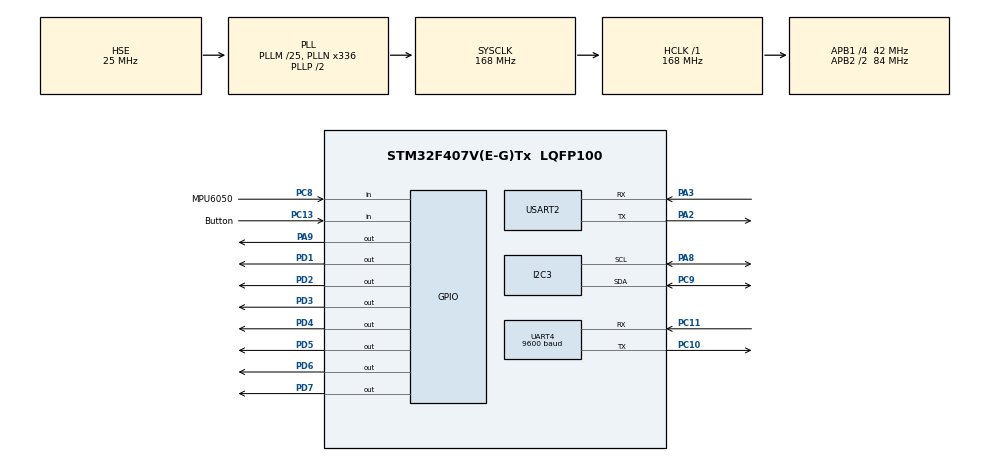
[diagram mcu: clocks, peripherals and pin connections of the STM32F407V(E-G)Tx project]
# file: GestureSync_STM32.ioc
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Dma.Request0=UART4_RX
Dma.Request1=UART4_TX
Dma.UART4_RX.0.Direction=DMA_PERIPH_TO_MEMORY
Dma.UART4_RX.0.FIFOMode=DMA_FIFOMODE_DISABLE
Dma.UART4_RX.0.Instance=DMA1_Stream2
Dma.UART4_RX.0.MemDataAlignment=DMA_MDATAALIGN_BYTE
Dma.UART4_RX.0.MemInc=DMA_MINC_ENABLE
Dma.UART4_RX.0.Mode=DMA_NORMAL
Dma.UART4_RX.0.PeriphDataAlignment=DMA_PDATAALIGN_BYTE
Dma.UART4_RX.0.PeriphInc=DMA_PINC_DISABLE
Dma.UART4_RX.0.Priority=DMA_PRIORITY_LOW
Dma.UART4_TX.1.Direction=DMA_MEMORY_TO_PERIPH
Dma.UART4_TX.1.FIFOMode=DMA_FIFOMODE_DISABLE
Dma.UART4_TX.1.Instance=DMA1_Stream4
Dma.UART4_TX.1.MemDataAlignment=DMA_MDATAALIGN_BYTE
Dma.UART4_TX.1.MemInc=DMA_MINC_ENABLE
Dma.UART4_TX.1.Mode=DMA_NORMAL
Dma.UART4_TX.1.PeriphDataAlignment=DMA_PDATAALIGN_BYTE
Dma.UART4_TX.1.PeriphInc=DMA_PINC_DISABLE
Dma.UART4_TX.1.Priority=DMA_PRIORITY_LOW
FREERTOS.Tasks01=MPU6050Task,2,128,StartMPU6050Task,Default,NULL,Dynamic,NULL,NULL;LcdTask,-3,128,StartLcdTask,Default,NULL,Dynamic,NULL,NULL;SwitchTask,1,128,StartSwitchTask,Default,NULL,Dynamic,NULL,NULL;TrafficTask,-3,128,StartTrafficTask,Default,NULL,Dynamic,NULL,NULL;ReceiveTask,0,128,StartRecieveTask,Default,NULL,Dynamic,NULL,NULL;IWDG_Monitor,3,128,StartIWDG_Monitor,Default,NULL,Dynamic,NULL,NULL
FREERTOS.configMAX_PRIORITIES=7
FREERTOS.configUSE_NEWLIB_REENTRANT=1
I2C3.I2C_Mode=I2C_Fast
IWDG.Prescaler=IWDG_PRESCALER_64
IWDG.Reload=3000-1
Mcu.Family=STM32F4
Mcu.Name=STM32F407V(E-G)Tx
Mcu.Package=LQFP100
NVIC.DMA1_Stream2_IRQn=true\:5\:0\:false\:false\:true\:true\:false\:true\:true
NVIC.DMA1_Stream4_IRQn=true\:5\:0\:false\:false\:true\:true\:false\:true\:true
NVIC.PriorityGroup=NVIC_PRIORITYGROUP_4
NVIC.TIM2_IRQn=true\:5\:0\:true\:false\:true\:false\:false\:true\:true
NVIC.TimeBase=TIM2_IRQn
NVIC.TimeBaseIP=TIM2
NVIC.UART4_IRQn=true\:5\:0\:false\:false\:true\:true\:true\:true\:true
PA13.Mode=Serial_Wire
PA13.Signal=SYS_JTMS-SWDIO
PA14.Mode=Serial_Wire
PA14.Signal=SYS_JTCK-SWCLK
PA2.Mode=Asynchronous
PA2.Signal=USART2_TX
PA3.Mode=Asynchronous
PA3.Signal=USART2_RX
PA8.Mode=I2C
PA8.Signal=I2C3_SCL
PA9.Signal=GPIO_Output
PC10.Mode=Asynchronous
PC10.Signal=UART4_TX
PC11.Mode=Asynchronous
PC11.Signal=UART4_RX
PC13-ANTI_TAMP.GPIO_Label=Button
PC13-ANTI_TAMP.Signal=GPIO_Input
PC8.GPIO_Label=MPU6050
PC8.Signal=GPIO_Input
PC9.Mode=I2C
PC9.Signal=I2C3_SDA
PD1.Signal=GPIO_Output
PD2.Signal=GPIO_Output
PD3.Signal=GPIO_Output
PD4.Signal=GPIO_Output
PD5.Signal=GPIO_Output
PD6.Signal=GPIO_Output
PD7.Signal=GPIO_Output
PH0-OSC_IN.Mode=HSE-External-Oscillator
PH0-OSC_IN.Signal=RCC_OSC_IN
PH1-OSC_OUT.Mode=HSE-External-Oscillator
PH1-OSC_OUT.Signal=RCC_OSC_OUT
ProjectManager.HeapSize=0x200
ProjectManager.StackSize=0x400
ProjectManager.TargetToolchain=STM32CubeIDE
RCC.48MHZClocksFreq_Value=84000000
RCC.AHBFreq_Value=168000000
RCC.APB1CLKDivider=RCC_HCLK_DIV4
RCC.APB1Freq_Value=42000000
RCC.APB1TimFreq_Value=84000000
RCC.APB2CLKDivider=RCC_HCLK_DIV2
RCC.APB2Freq_Value=84000000
RCC.APB2TimFreq_Value=168000000
RCC.CortexFreq_Value=168000000
RCC.HCLKFreq_Value=168000000
RCC.HSE_VALUE=25000000
RCC.HSI_VALUE=16000000
RCC.LSE_VALUE=32768
RCC.PLLM=25
RCC.PLLN=336
RCC.PLLSourceVirtual=RCC_PLLSOURCE_HSE
RCC.SYSCLKFreq_VALUE=168000000
RCC.SYSCLKSource=RCC_SYSCLKSOURCE_PLLCLK
RCC.VCOOutputFreq_Value=336000000
TIM1.Period=0xffff-1
TIM1.Prescaler=168-1
UART4.BaudRate=9600
UART4.VirtualMode=Asynchronous
USART2.VirtualMode=VM_ASYNC
VP_FREERTOS_VS_CMSIS_V1.Mode=CMSIS_V1
VP_IWDG_VS_IWDG.Mode=IWDG_Activate
VP_SYS_VS_tim2.Mode=TIM2
VP_TIM1_VS_ClockSourceINT.Mode=Internal
board=custom

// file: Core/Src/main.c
/* USER CODE BEGIN Header */
/**
  ******************************************************************************
  * @file           : main.c
  * @brief          : Main program body
  ******************************************************************************
  * @attention
  *
  * Copyright (c) 2024 STMicroelectronics.
  * All rights reserved.
  *
  * This software is licensed under terms that can be found in the LICENSE file
  * in the root directory of this software component.
  * If no LICENSE file comes with this software, it is provided AS-IS.
  *
  ******************************************************************************
  */
/* USER CODE END Header */
#include "main.h"
#include "cmsis_os.h"
#include "dma.h"
#include "i2c.h"
#include "iwdg.h"
#include "tim.h"
#include "usart.h"
#include "gpio.h"

/* USER CODE BEGIN Includes */
//#include <stdio.h>
#include "CalculateAngle.h"
#include "TrafficControl.h"
#include "LCD1602.h"
#include "string.h"
#include "FreeRTOS.h"
/* USER CODE END Includes */

/* USER CODE BEGIN PTD */
//for printf debug via USB UART2
//int _write(int file, uint8_t* p, int len)
//{
//	if(HAL_UART_Transmit(&huart2, p, len, len) == HAL_OK )
//	{
//		return len;
//	}
//	return 0;
//}
/* USER CODE END PTD */

/* USER CODE BEGIN PV */
uint8_t receiveData[2];
/* USER CODE END PV */

void SystemClock_Config(void);
void MX_FREERTOS_Init(void);

/* USER CODE BEGIN 0 */
//void HAL_GPIO_EXTI_Callback(uint16_t GPIO_Pin){
//	HAL_Delay(15);
//	if (HAL_GPIO_ReadPin(Button_GPIO_Port, Button_Pin) == GPIO_PIN_SET){
////		printf("------------Angle----------------%f, %f, %f\n",MPU6050.AngleX, MPU6050.AngleY, MPU6050.AngleZ);
////		printf("------------Gyro-----------------%f, %f, %f\n", MPU6050.Gx, MPU6050.Gy, MPU6050.Gz);
//		ConditionSelect(&MPU6050);
//	}
//}
/* USER CODE END 0 */

int main(void)
{

  /* MCU Configuration--------------------------------------------------------*/

  /* Reset of all peripherals, Initializes the Flash interface and the Systick. */
  HAL_Init();

  /* USER CODE BEGIN Init */
  receiveData[0] = '\0';
  receiveData[1] = '\0';
  /* USER CODE END Init */

  /* Configure the system clock */
  SystemClock_Config();

  /* Initialize all configured peripherals */
  MX_IWDG_Init();
  MX_GPIO_Init();
  MX_DMA_Init();
  MX_USART2_UART_Init();
  MX_TIM1_Init();
  MX_UART4_Init();
  MX_I2C3_Init();
  /* USER CODE BEGIN 2 */
  HAL_TIM_Base_Start(&htim1);
  lcd_init();

  while (MPU6050_Init(&hi2c3) == 1){
// 	  printf("error!\n");
 	  lcd_put_cur(0, 0);
 	  lcd_send_string("ERROR! RESTART");
 	  HAL_Delay(500);
 	  lcd_clear();
 	  HAL_Delay(500);
   }
  MPU6050_Calibration(&MPU6050);

  lcd_put_cur(0, 0);
  lcd_send_string("HELLO STM32");
  HAL_Delay(2000);
  lcd_clear();
  lcd_send_string("CAR: #");

  HAL_UARTEx_ReceiveToIdle_DMA(&huart4, receiveData, sizeof(receiveData));

  /* USER CODE END 2 */

  /* Call init function for freertos objects (in freertos.c) */
  MX_FREERTOS_Init();

  /* Start scheduler */
  osKernelStart();

  /* We should never get here as control is now taken by the scheduler */
  /* Infinite loop */
  while (1)
  {

    /* USER CODE BEGIN 3 */
//    MPU6050_Read_All(&hi2c1, &MPU6050);
//	//Calibration
//	MPU6050_Correction(&MPU6050);
//	//CalculateCompliFilter
//	CalculateCompliFilter(&MPU6050);
//	printf("%f, %f, %f\n",MPU6050.AngleX, MPU6050.AngleY, MPU6050.AngleZ);

  }
  /* USER CODE END 3 */
}

void SystemClock_Config(void)
{
  RCC_OscInitTypeDef RCC_OscInitStruct = {0};
  RCC_ClkInitTypeDef RCC_ClkInitStruct = {0};

  /** Configure the main internal regulator output voltage
  */
  __HAL_RCC_PWR_CLK_ENABLE();
  __HAL_PWR_VOLTAGESCALING_CONFIG(PWR_REGULATOR_VOLTAGE_SCALE1);

  /** Initializes the RCC Oscillators according to the specified parameters
  * in the RCC_OscInitTypeDef structure.
  */
  RCC_OscInitStruct.OscillatorType = RCC_OSCILLATORTYPE_LSI|RCC_OSCILLATORTYPE_HSE;
  RCC_OscInitStruct.HSEState = RCC_HSE_ON;
  RCC_OscInitStruct.LSIState = RCC_LSI_ON;
  RCC_OscInitStruct.PLL.PLLState = RCC_PLL_ON;
  RCC_OscInitStruct.PLL.PLLSource = RCC_PLLSOURCE_HSE;
  RCC_OscInitStruct.PLL.PLLM = 25;
  RCC_OscInitStruct.PLL.PLLN = 336;
  RCC_OscInitStruct.PLL.PLLP = RCC_PLLP_DIV2;
  RCC_OscInitStruct.PLL.PLLQ = 4;
  if (HAL_RCC_OscConfig(&RCC_OscInitStruct) != HAL_OK)
  {
    Error_Handler();
  }

  /** Initializes the CPU, AHB and APB buses clocks
  */
  RCC_ClkInitStruct.ClockType = RCC_CLOCKTYPE_HCLK|RCC_CLOCKTYPE_SYSCLK
                              |RCC_CLOCKTYPE_PCLK1|RCC_CLOCKTYPE_PCLK2;
  RCC_ClkInitStruct.SYSCLKSource = RCC_SYSCLKSOURCE_PLLCLK;
  RCC_ClkInitStruct.AHBCLKDivider = RCC_SYSCLK_DIV1;
  RCC_ClkInitStruct.APB1CLKDivider = RCC_HCLK_DIV4;
  RCC_ClkInitStruct.APB2CLKDivider = RCC_HCLK_DIV2;

  if (HAL_RCC_ClockConfig(&RCC_ClkInitStruct, FLASH_LATENCY_5) != HAL_OK)
  {
    Error_Handler();
  }
}

void HAL_TIM_PeriodElapsedCallback(TIM_HandleTypeDef *htim)
{
  if (htim->Instance == TIM2) {
    HAL_IncTick();
  }
}

void Error_Handler(void)
{
  __disable_irq();
  while (1)
  {
  }
}

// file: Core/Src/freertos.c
/* USER CODE BEGIN Header */
/**
  ******************************************************************************
  * File Name          : freertos.c
  * Description        : Code for freertos applications
  ******************************************************************************
  * @attention
  *
  * Copyright (c) 2024 STMicroelectronics.
  * All rights reserved.
  *
  * This software is licensed under terms that can be found in the LICENSE file
  * in the root directory of this software component.
  * If no LICENSE file comes with this software, it is provided AS-IS.
  *
  ******************************************************************************
  */
/* USER CODE END Header */

#include "FreeRTOS.h"
#include "task.h"
#include "main.h"
#include "cmsis_os.h"

/* USER CODE BEGIN Includes */
//#include <stdio.h>
#include "CalculateAngle.h"
#include "TrafficControl.h"
#include "LCD1602.h"
#include "usart.h"
#include "iwdg.h"
#include "event_groups.h"
/* USER CODE END Includes */

/* USER CODE BEGIN PD */
#define BIT_Task01_EVENT (EventBits_t)(0x0001 << 0)
#define BIT_Task02_EVENT (EventBits_t)(0x0001 << 1)
#define BIT_TaskALL_EVENT BIT_Task01_EVENT | BIT_Task02_EVENT
/* USER CODE END PD */

/* USER CODE BEGIN Variables */
EventGroupHandle_t MyEvent01Handle;
/* USER CODE END Variables */
osThreadId MPU6050TaskHandle;
osThreadId LcdTaskHandle;
osThreadId SwitchTaskHandle;
osThreadId TrafficTaskHandle;
osThreadId ReceiveTaskHandle;
osThreadId IWDG_MonitorHandle;

void StartMPU6050Task(void const * argument);
void StartLcdTask(void const * argument);
void StartSwitchTask(void const * argument);
void StartTrafficTask(void const * argument);
void StartRecieveTask(void const * argument);
void StartIWDG_Monitor(void const * argument);

void MX_FREERTOS_Init(void); /* (MISRA C 2004 rule 8.1) */

/* GetIdleTaskMemory prototype (linked to static allocation support) */
void vApplicationGetIdleTaskMemory( StaticTask_t **ppxIdleTaskTCBBuffer, StackType_t **ppxIdleTaskStackBuffer, uint32_t *pulIdleTaskStackSize );

/* USER CODE BEGIN GET_IDLE_TASK_MEMORY */
static StaticTask_t xIdleTaskTCBBuffer;
static StackType_t xIdleStack[configMINIMAL_STACK_SIZE];

void vApplicationGetIdleTaskMemory( StaticTask_t **ppxIdleTaskTCBBuffer, StackType_t **ppxIdleTaskStackBuffer, uint32_t *pulIdleTaskStackSize )
{
  *ppxIdleTaskTCBBuffer = &xIdleTaskTCBBuffer;
  *ppxIdleTaskStackBuffer = &xIdleStack[0];
  *pulIdleTaskStackSize = configMINIMAL_STACK_SIZE;
  /* place for user code */
}
/* USER CODE END GET_IDLE_TASK_MEMORY */

void MX_FREERTOS_Init(void) {
  /* USER CODE BEGIN Init */
	MyEvent01Handle = xEventGroupCreate();
  /* USER CODE END Init */

  /* Create the thread(s) */
  /* definition and creation of MPU6050Task */
  osThreadDef(MPU6050Task, StartMPU6050Task, osPriorityHigh, 0, 128);
  MPU6050TaskHandle = osThreadCreate(osThread(MPU6050Task), NULL);

  /* definition and creation of LcdTask */
  osThreadDef(LcdTask, StartLcdTask, osPriorityIdle, 0, 128);
  LcdTaskHandle = osThreadCreate(osThread(LcdTask), NULL);

  /* definition and creation of SwitchTask */
  osThreadDef(SwitchTask, StartSwitchTask, osPriorityAboveNormal, 0, 128);
  SwitchTaskHandle = osThreadCreate(osThread(SwitchTask), NULL);

  /* definition and creation of TrafficTask */
  osThreadDef(TrafficTask, StartTrafficTask, osPriorityIdle, 0, 128);
  TrafficTaskHandle = osThreadCreate(osThread(TrafficTask), NULL);

  /* definition and creation of ReceiveTask */
  osThreadDef(ReceiveTask, StartRecieveTask, osPriorityNormal, 0, 128);
  ReceiveTaskHandle = osThreadCreate(osThread(ReceiveTask), NULL);

  /* definition and creation of IWDG_Monitor */
  osThreadDef(IWDG_Monitor, StartIWDG_Monitor, osPriorityRealtime, 0, 128);
  IWDG_MonitorHandle = osThreadCreate(osThread(IWDG_Monitor), NULL);

}

void StartMPU6050Task(void const * argument)
{
  /* USER CODE BEGIN StartMPU6050Task */
  /* Infinite loop */
  for(;;)
  {
	  MPU6050_Read_All(&hi2c3, &MPU6050);
	  //Calibration
	  MPU6050_Correction(&MPU6050);
	  //CalculateCompliFilter
	  CalculateCompliFilter(&MPU6050);

//	  char data[100];
//	  gcvt(MPU6050.AngleY, 6, data);
//	  HAL_UART_Transmit(&huart2, (uint8_t*)data, sizeof(data), HAL_MAX_DELAY);

	  osDelay(10);
	  xEventGroupSetBits(MyEvent01Handle, BIT_Task01_EVENT);

//	  uint8_t str1[]="\nMPU6050\n";
//	  HAL_UART_Transmit(&huart2, str1, sizeof(str1), HAL_MAX_DELAY);
  }

  //In case we accidentally exit from task loop
  osThreadTerminate(NULL);

  /* USER CODE END StartMPU6050Task */
}

void StartLcdTask(void const * argument)
{
  /* USER CODE BEGIN StartLcdTask */
  /* Infinite loop */
  for(;;)
  {
	  HAL_UART_Transmit(&huart2, receiveData, sizeof(receiveData), HAL_MAX_DELAY);
	  ulTaskNotifyTake(pdTRUE, portMAX_DELAY);

	  lcd_put_cur(0, 0);
	  lcd_send_string("CAR:            ");
	  lcd_put_cur(0, 5);
	  lcd_send_string((char*)receiveData);

	  receiveData[0] = '\0';
	  receiveData[1] = '\0';

//	  uint8_t str2[]="LCD\n";
//	  HAL_UART_Transmit(&huart2, str2, sizeof(str2), HAL_MAX_DELAY);

	  osDelay(300);
  }

  //In case we accidentally exit from task loop
  osThreadTerminate(NULL);

  /* USER CODE END StartLcdTask */
}

void StartSwitchTask(void const * argument)
{
  /* USER CODE BEGIN StartSwitchTask */
  /* Infinite loop */
  for(;;)
  {
	  vTaskDelay(15);
	  if(HAL_GPIO_ReadPin(Button_GPIO_Port, Button_Pin)){
		  vTaskDelay(2000);
		  if(HAL_GPIO_ReadPin(Button_GPIO_Port, Button_Pin)){
			  xTaskNotifyGive(TrafficTaskHandle);
		  }
	  }

	  osDelay(50);
	  xEventGroupSetBits(MyEvent01Handle, BIT_Task02_EVENT);

//	  uint8_t str3[]="Switch\n";
//	  HAL_UART_Transmit(&huart2, str3, sizeof(str3), HAL_MAX_DELAY);
  }

  //In case we accidentally exit from task loop
  osThreadTerminate(NULL);

  /* USER CODE END StartSwitchTask */
}

void StartTrafficTask(void const * argument)
{
  /* USER CODE BEGIN StartTrafficTask */
  /* Infinite loop */
  for(;;)
  {
	  //wait for a Task Notification from Button Task
	  ulTaskNotifyTake(pdTRUE, portMAX_DELAY);
	  ConditionSelect(&MPU6050);

//	  uint8_t str4[]="Traffic\n";
//	  HAL_UART_Transmit(&huart2, str4, sizeof(str4), HAL_MAX_DELAY);

	  osDelay(300);
  }

  //In case we accidentally exit from task loop
  osThreadTerminate(NULL);

  /* USER CODE END StartTrafficTask */
}

void StartRecieveTask(void const * argument)
{
  /* USER CODE BEGIN StartRecieveTask */
  /* Infinite loop */
  for(;;)
  {
	  if(receiveData[0]>='0'){
		  lcd_put_cur(0, 0);
		  lcd_send_string("CAR:   ");
		  xTaskNotifyGive(LcdTaskHandle);
	  }
	  HAL_UARTEx_ReceiveToIdle_DMA(&huart4, receiveData, sizeof(receiveData));

      osDelay(10);
  }

  //In case we accidentally exit from task loop
  osThreadTerminate(NULL);
  /* USER CODE END StartRecieveTask */
}

void StartIWDG_Monitor(void const * argument)
{
  /* USER CODE BEGIN StartIWDG_Monitor */
  EventBits_t xEvent;
  const TickType_t xTicksToWait = 6000 / portTICK_PERIOD_MS;

  /* Infinite loop */
  for(;;)
  {
	  xEvent = xEventGroupWaitBits(
			  MyEvent01Handle,
			  BIT_TaskALL_EVENT, //uxBitsToWaitFor
			  pdTRUE,	//xClearOnExit
			  pdTRUE,	//xWaitForAllBits
			  xTicksToWait
	  );
	  if((xEvent&(BIT_TaskALL_EVENT)) == (BIT_TaskALL_EVENT)){
//	  	  uint8_t str5[]="Woof Woof\n";
//	  	  HAL_UART_Transmit(&huart2, str5, sizeof(str5), HAL_MAX_DELAY);
		  HAL_IWDG_Refresh(&hiwdg);
	  }

  }

  //In case we accidentally exit from task loop
  osThreadTerminate(NULL);
  /* USER CODE END StartIWDG_Monitor */
}
